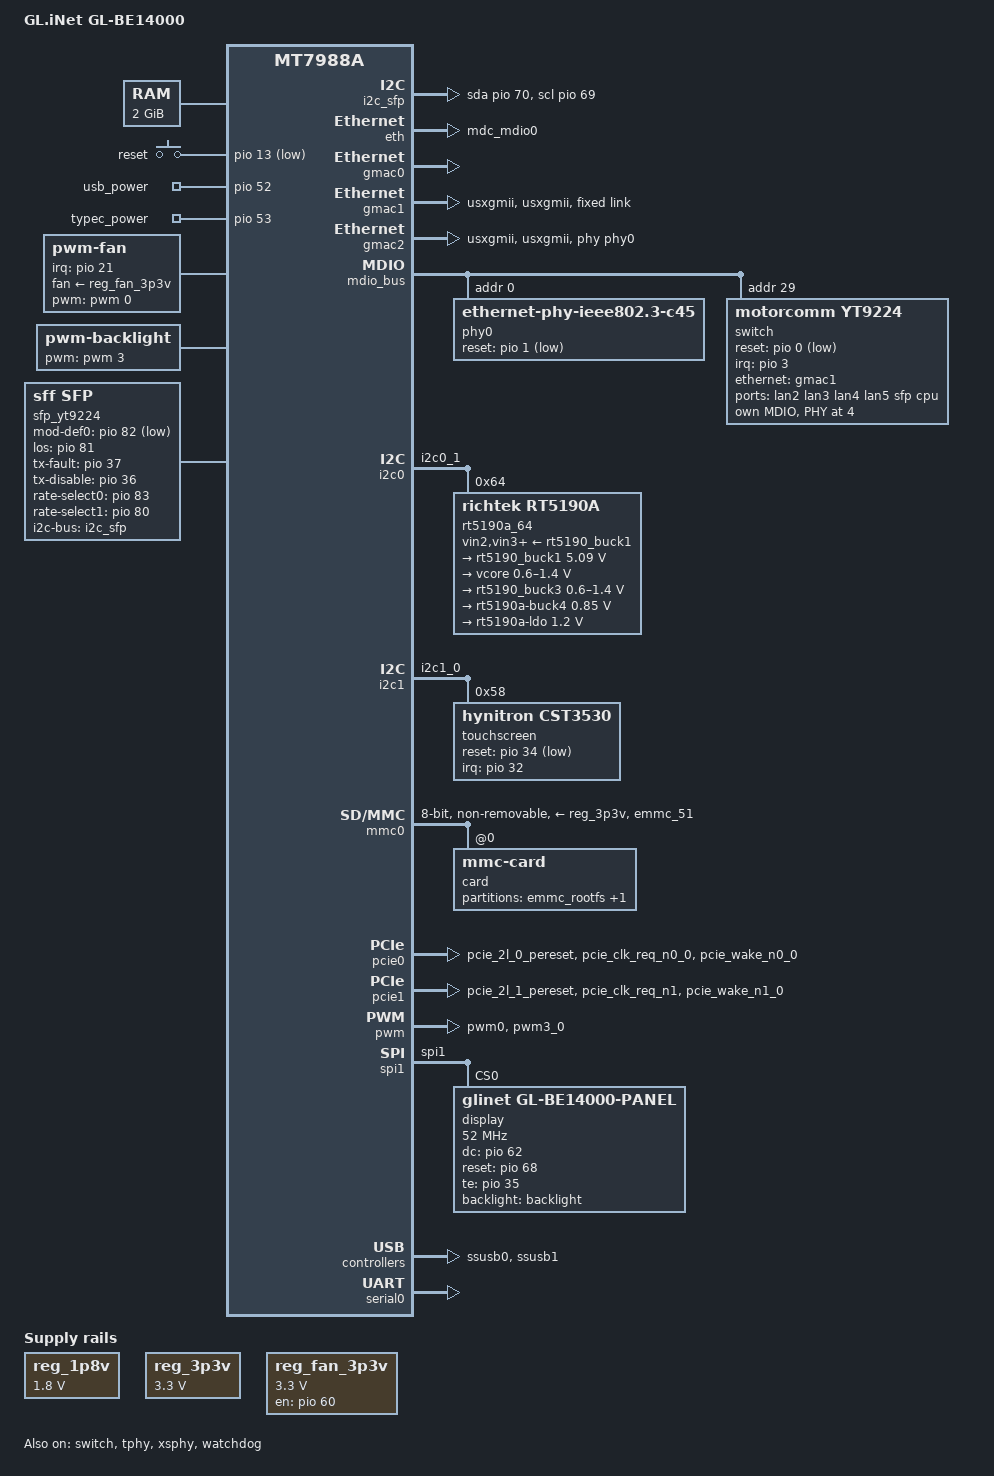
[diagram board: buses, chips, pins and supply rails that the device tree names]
// SPDX-License-Identifier: (GPL-2.0 OR MIT)

/dts-v1/;

#include "mt7988a.dtsi"
#include <dt-bindings/gpio/gpio.h>
#include <dt-bindings/input/input.h>
#include <dt-bindings/interrupt-controller/irq.h>
#include <dt-bindings/pinctrl/mt65xx.h>
#include <dt-bindings/regulator/richtek,rt5190a-regulator.h>

/ {
	compatible = "glinet,gl-be14000", "mediatek,mt7988a";
	model = "GL.iNet GL-BE14000";

	aliases {
		serial0 = &serial0;
		label-mac-device = &gmac2;
	};

	chosen {
		stdout-path = "serial0:115200n1";
		rootdisk = <&emmc_rootfs>;
		bootargs = "console=ttyS0,115200n1 pci=pcie_bus_perf root=PARTLABEL=rootfs rootwait";
	};

	memory@40000000 {
		reg = <0x0 0x40000000 0x0 0x80000000>;
		device_type = "memory";
	};

	reg_1p8v: regulator-1p8v {
		compatible = "regulator-fixed";
		regulator-name = "fixed-1.8V";
		regulator-min-microvolt = <1800000>;
		regulator-max-microvolt = <1800000>;
		regulator-boot-on;
		regulator-always-on;
	};

	reg_3p3v: regulator-3p3v {
		compatible = "regulator-fixed";
		regulator-name = "fixed-3.3V";
		regulator-min-microvolt = <3300000>;
		regulator-max-microvolt = <3300000>;
		regulator-boot-on;
		regulator-always-on;
	};

	reg_fan_3p3v: regulator-fan-3p3v {
		compatible = "regulator-fixed";
		regulator-name = "fan-3.3V";
		regulator-min-microvolt = <3300000>;
		regulator-max-microvolt = <3300000>;
		gpio = <&pio 60 GPIO_ACTIVE_HIGH>;
		enable-active-high;
	};

	gpio-keys {
		compatible = "gpio-keys";

		button-reset {
			label = "reset";
			linux,code = <KEY_RESTART>;
			gpios = <&pio 13 GPIO_ACTIVE_LOW>;
		};
	};

	gpio-export {
		compatible = "gpio-export";

		usb_power {
			gpio-export,name = "usb_power";
			gpio-export,output = <1>;
			gpios = <&pio 52 GPIO_ACTIVE_HIGH>;
		};

		typec_power {
			gpio-export,name = "typec_power";
			gpio-export,output = <1>;
			gpios = <&pio 53 GPIO_ACTIVE_HIGH>;
		};
	};

	fan: pwm-fan {
		compatible = "pwm-fan";
		#cooling-cells = <2>;
		#thermal-sensor-cells = <1>;
		/* duty 255 (constant-high) stalls this fan, so cap the top level below it */
		cooling-levels = <0 80 150 240>;
		pwms = <&pwm 0 50000>;
		fan-supply = <&reg_fan_3p3v>;
		interrupt-parent = <&pio>;
		interrupts = <21 IRQ_TYPE_EDGE_FALLING>;
		pulses-per-revolution = <2>;
	};

	backlight: backlight {
		compatible = "pwm-backlight";
		pwms = <&pwm 3 50000>;
		brightness-levels = <0 16 32 48 64 80 96 112 128 144 160 176 192 208 224 255>;
		default-brightness-level = <12>;
	};

	i2c_sfp: i2c-gpio {
		compatible = "i2c-gpio";
		scl-gpios = <&pio 69 GPIO_ACTIVE_HIGH>;
		sda-gpios = <&pio 70 GPIO_ACTIVE_HIGH>;
		i2c-gpio,delay-us = <5>;
		#address-cells = <1>;
		#size-cells = <0>;
	};

	sfp_yt9224: sfp {
		compatible = "sff,sfp";
		i2c-bus = <&i2c_sfp>;
		mod-def0-gpios = <&pio 82 GPIO_ACTIVE_LOW>;
		los-gpios = <&pio 81 GPIO_ACTIVE_HIGH>;
		tx-fault-gpios = <&pio 37 GPIO_ACTIVE_HIGH>;
		tx-disable-gpios = <&pio 36 GPIO_ACTIVE_HIGH>;
		rate-select0-gpios = <&pio 83 GPIO_ACTIVE_HIGH>;
		rate-select1-gpios = <&pio 80 GPIO_ACTIVE_HIGH>;
		maximum-power-milliwatt = <3000>;
	};
};

&cpu0 {
	proc-supply = <&rt5190_buck3>;
};

&cpu1 {
	proc-supply = <&rt5190_buck3>;
};

&cpu2 {
	proc-supply = <&rt5190_buck3>;
};

&cpu3 {
	proc-supply = <&rt5190_buck3>;
};

&cci {
	proc-supply = <&rt5190_buck3>;
};

&cpu_thermal {
	/delete-node/cooling-maps;
	/delete-node/trips;

	trips {
		cpu_trip_crit: crit {
			temperature = <125000>;
			hysteresis = <2000>;
			type = "critical";
		};

		cpu_trip_hot: hot {
			temperature = <120000>;
			hysteresis = <2000>;
			type = "hot";
		};

		cpu_trip_active_high: active-high {
			temperature = <110000>;
			hysteresis = <2000>;
			type = "active";
		};

		cpu_trip_active_med: active-med {
			temperature = <80000>;
			hysteresis = <2000>;
			type = "active";
		};

		cpu_trip_active_low: active-low {
			temperature = <60000>;
			hysteresis = <2000>;
			type = "active";
		};

		cpu_trip_active_silent: active-silent {
			temperature = <40000>;
			hysteresis = <2000>;
			type = "active";
		};
	};

	cooling-maps {
		cpu-active-high {
			cooling-device = <&fan 3 3>;
			trip = <&cpu_trip_active_high>;
		};

		cpu-active-med {
			cooling-device = <&fan 2 2>;
			trip = <&cpu_trip_active_med>;
		};

		cpu-active-low {
			cooling-device = <&fan 1 1>;
			trip = <&cpu_trip_active_low>;
		};

		cpu-active-silent {
			cooling-device = <&fan 0 0>;
			trip = <&cpu_trip_active_silent>;
		};
	};
};

&eth {
	pinctrl-names = "default";
	pinctrl-0 = <&mdio0_pins>;
	status = "okay";
};

&gmac0 {
	nvmem-cells = <&macaddr_ethernet 2>;
	nvmem-cell-names = "mac-address";
	status = "okay";
};

&gmac1 {
	phy-mode = "usxgmii";
	phy-connection-type = "usxgmii";
	nvmem-cells = <&macaddr_ethernet 1>;
	nvmem-cell-names = "mac-address";
	status = "okay";

	fixed-link {
		speed = <10000>;
		full-duplex;
		pause;
	};
};

&usxgmiisys1 {
	mediatek,force-fixed-10g;
};

&gmac2 {
	phy-mode = "usxgmii";
	phy-connection-type = "usxgmii";
	phy = <&phy0>;
	openwrt,netdev-name = "wan";
	nvmem-cells = <&macaddr_ethernet 0>;
	nvmem-cell-names = "mac-address";
	managed = "in-band-status";
	status = "okay";
};

&switch {
	status = "okay";

	dsa,member = <0 0>;

	ports {
		port@0 {
			label = "lan6";
		};

		port@1 {
			label = "lan7";
		};

		port@2 {
			label = "lan8";
		};

		port@3 {
			label = "lan9";
		};
	};
};

&mdio_bus {
	clock-frequency = <10500000>;

	phy0: ethernet-phy@0 {
		/* external multi-gig PHY (c45) */
		compatible = "ethernet-phy-ieee802.3-c45";
		reg = <0>;

		reset-gpios = <&pio 1 GPIO_ACTIVE_LOW>;
		reset-assert-us = <100000>;
		reset-deassert-us = <300000>;
	};

	switch@1d {
		compatible = "motorcomm,yt9224";
		reg = <0x1d>;

		dsa,member = <1 0>;

		reset-gpios = <&pio 0 GPIO_ACTIVE_LOW>;
		reset-assert-us = <50000>;
		reset-deassert-us = <200000>;
		interrupt-parent = <&pio>;
		interrupts = <3 IRQ_TYPE_LEVEL_LOW>;

		ports {
			#address-cells = <1>;
			#size-cells = <0>;

			/*
			 * The driver puts the four integral GbE PHYs on ports
			 * 4 to 7 and leaves ports 0 and 8 as serdes, which is
			 * what internal_mask 0x1f1 and yt922x_dsa_phylink_get_caps()
			 * describe. The vendor tree numbered the same sockets
			 * 0 to 3, so do not copy that map here.
			 */
			port@4 {
				reg = <4>;
				label = "lan2";
				phy-mode = "internal";
				phy-handle = <&yt8824_phy4>;
			};

			port@5 {
				reg = <5>;
				label = "lan3";
				phy-mode = "internal";
				phy-handle = <&yt8824_phy5>;
			};

			port@6 {
				reg = <6>;
				label = "lan4";
				phy-mode = "internal";
				phy-handle = <&yt8824_phy6>;
			};

			port@7 {
				reg = <7>;
				label = "lan5";
				phy-mode = "internal";
				phy-handle = <&yt8824_phy7>;
			};

			port@0 {
				reg = <0>;
				label = "sfp";
				phy-mode = "10gbase-r";
				managed = "in-band-status";
				sfp = <&sfp_yt9224>;
			};

			port@8 {
				reg = <8>;
				label = "cpu";
				ethernet = <&gmac1>;
				dsa-tag-protocol = "yt922x_4b";
				phy-mode = "usxgmii";

				fixed-link {
					speed = <10000>;
					full-duplex;
					pause;
				};
			};
		};

		mdio {
			#address-cells = <1>;
			#size-cells = <0>;

			ethernet-phy-package@4 {
				#address-cells = <1>;
				#size-cells = <0>;
				reg = <4>;
				motorcomm,interface-mode = "internal";

				yt8824_phy4: ethernet-phy@4 {
					reg = <4>;
				};

				yt8824_phy5: ethernet-phy@5 {
					reg = <5>;
				};

				yt8824_phy6: ethernet-phy@6 {
					reg = <6>;
				};

				yt8824_phy7: ethernet-phy@7 {
					reg = <7>;
				};
			};
		};
	};
};

&i2c0 {
	pinctrl-names = "default";
	pinctrl-0 = <&i2c0_pins>;
	status = "okay";

	rt5190a_64: rt5190a@64 {
		compatible = "richtek,rt5190a";
		reg = <0x64>;
		vin2-supply = <&rt5190_buck1>;
		vin3-supply = <&rt5190_buck1>;
		vin4-supply = <&rt5190_buck1>;

		regulators {
			rt5190_buck1: buck1 {
				regulator-name = "rt5190a-buck1";
				regulator-min-microvolt = <5090000>;
				regulator-max-microvolt = <5090000>;
				regulator-allowed-modes =
					<RT5190A_OPMODE_AUTO RT5190A_OPMODE_FPWM>;
				regulator-boot-on;
				regulator-always-on;
			};

			buck2 {
				regulator-name = "vcore";
				regulator-min-microvolt = <600000>;
				regulator-max-microvolt = <1400000>;
				regulator-boot-on;
				regulator-always-on;
			};

			rt5190_buck3: buck3 {
				regulator-name = "vproc";
				regulator-min-microvolt = <600000>;
				regulator-max-microvolt = <1400000>;
				regulator-boot-on;
			};

			buck4 {
				regulator-name = "rt5190a-buck4";
				regulator-min-microvolt = <850000>;
				regulator-max-microvolt = <850000>;
				regulator-allowed-modes =
					<RT5190A_OPMODE_AUTO RT5190A_OPMODE_FPWM>;
				regulator-boot-on;
				regulator-always-on;
			};

			ldo {
				regulator-name = "rt5190a-ldo";
				regulator-min-microvolt = <1200000>;
				regulator-max-microvolt = <1200000>;
				regulator-boot-on;
				regulator-always-on;
			};
		};
	};
};

&i2c1 {
	pinctrl-names = "default";
	pinctrl-0 = <&i2c1_pins>;
	status = "okay";

	touchscreen@58 {
		compatible = "hynitron,cst3530";
		reg = <0x58>;

		interrupt-parent = <&pio>;
		interrupts = <32 IRQ_TYPE_EDGE_FALLING>;
		reset-gpios = <&pio 34 GPIO_ACTIVE_LOW>;

		touchscreen-size-x = <240>;
		touchscreen-size-y = <320>;
		touchscreen-swapped-x-y;
		touchscreen-inverted-y;
	};
};

&mmc0 {
	pinctrl-names = "default", "state_uhs";
	pinctrl-0 = <&mmc0_pins_emmc_51>;
	pinctrl-1 = <&mmc0_pins_emmc_51>;
	bus-width = <8>;
	max-frequency = <200000000>;
	cap-mmc-highspeed;
	mmc-hs200-1_8v;
	vmmc-supply = <&reg_3p3v>;
	vqmmc-supply = <&reg_1p8v>;
	non-removable;
	no-sd;
	no-sdio;
	status = "okay";
	#address-cells = <1>;
	#size-cells = <0>;

	card@0 {
		compatible = "mmc-card";
		reg = <0>;

		block {
			compatible = "block-device";

			partitions {
				emmc_rootfs: block-partition-rootfs {
					partname = "rootfs";
				};

				block-partition-factory {
					partname = "factory";

					nvmem-layout {
						compatible = "fixed-layout";
						#address-cells = <1>;
						#size-cells = <1>;

						eeprom_factory_0: eeprom@0 {
							reg = <0x0 0x1e00>;
						};

						macaddr_ethernet: macaddr@4000 {
							compatible = "mac-base";
							reg = <0x4000 0x6>;
							#nvmem-cell-cells = <1>;
						};

						macaddr_wifi: macaddr@4006 {
							compatible = "mac-base";
							reg = <0x4006 0x6>;
							#nvmem-cell-cells = <1>;
						};
					};
				};
			};
		};
	};
};

&pcie0 {
	pinctrl-names = "default";
	pinctrl-0 = <&pcie0_pins>;
	status = "okay";

	pcie@0,0 {
		reg = <0x0000 0 0 0 0>;
		#address-cells = <3>;
		#size-cells = <2>;

		mt7996@0,0 {
			reg = <0x0000 0 0 0 0>;
			#address-cells = <1>;
			#size-cells = <0>;
			nvmem-cells = <&eeprom_factory_0>;
			nvmem-cell-names = "eeprom";

			band@0 {
				/* 2.4 GHz */
				reg = <0>;
				nvmem-cells = <&macaddr_wifi 0>;
				nvmem-cell-names = "mac-address";
			};

			band@1 {
				/* 5 GHz */
				reg = <1>;
				nvmem-cells = <&macaddr_wifi 1>;
				nvmem-cell-names = "mac-address";
			};

			band@2 {
				/* 6 GHz */
				reg = <2>;
				nvmem-cells = <&macaddr_wifi 2>;
				nvmem-cell-names = "mac-address";
			};
		};
	};
};

&pcie1 {
	pinctrl-names = "default";
	pinctrl-0 = <&pcie1_pins>;
	status = "okay";
};

&pcie2 {
	status = "disabled";
};

&pcie3 {
	status = "disabled";
};

&pio {
	i2c0_pins: i2c0-g0-pins {
		mux {
			function = "i2c";
			groups = "i2c0_1";
		};
	};

	i2c1_pins: i2c1-pins {
		mux {
			function = "i2c";
			groups = "i2c1_0";
		};
	};

	mdio0_pins: mdio0-pins {
		mux {
			function = "eth";
			groups = "mdc_mdio0";
		};

		conf {
			groups = "mdc_mdio0";
			drive-strength = <MTK_DRIVE_8mA>;
		};
	};

	mmc0_pins_emmc_51: mmc0-emmc-51-pins {
		mux {
			function = "flash";
			groups = "emmc_51";
		};
	};

	pcie0_pins: pcie0-pins {
		mux {
			function = "pcie";
			groups = "pcie_2l_0_pereset", "pcie_clk_req_n0_0",
				 "pcie_wake_n0_0";
		};
	};

	pcie1_pins: pcie1-pins {
		mux {
			function = "pcie";
			groups = "pcie_2l_1_pereset", "pcie_clk_req_n1",
				 "pcie_wake_n1_0";
		};
	};

	pwm_pins: pwm-pins {
		mux {
			function = "pwm";
			groups = "pwm0";
		};
	};

	pwm3_pins: pwm3-pins {
		mux {
			function = "pwm";
			groups = "pwm3_0";
		};
	};

	spi1_pins: spi1-pins {
		mux {
			function = "spi";
			groups = "spi1";
		};
	};
};

&pwm {
	pinctrl-names = "default";
	pinctrl-0 = <&pwm_pins>, <&pwm3_pins>;
	status = "okay";
};

&spi1 {
	pinctrl-names = "default";
	pinctrl-0 = <&spi1_pins>;
	status = "okay";

	display@0 {
		compatible = "glinet,gl-be14000-panel", "panel-mipi-dbi-spi";
		reg = <0>;
		spi-max-frequency = <52000000>;
		spi-tx-bus-width = <1>;
		spi-rx-bus-width = <0>;
		spi-cpol;
		spi-cpha;

		dc-gpios = <&pio 62 GPIO_ACTIVE_HIGH>;
		reset-gpios = <&pio 68 GPIO_ACTIVE_HIGH>;
		te-gpios = <&pio 35 GPIO_ACTIVE_HIGH>;
		write-only;

		format = "r5g6b5";
		backlight = <&backlight>;

		/* physical dimensions are approximate; verify against the panel */
		width-mm = <41>;
		height-mm = <31>;

		panel-timing {
			hactive = <320>;
			vactive = <240>;
			hback-porch = <0>;
			vback-porch = <0>;
			clock-frequency = <0>;
			hfront-porch = <0>;
			hsync-len = <0>;
			vfront-porch = <0>;
			vsync-len = <0>;
		};
	};
};

&ssusb0 {
	status = "okay";
};

&ssusb1 {
	status = "okay";
};

&tphy {
	status = "okay";
};

&xsphy {
	status = "okay";
};

&serial0 {
	status = "okay";
};

&watchdog {
	status = "okay";
};
